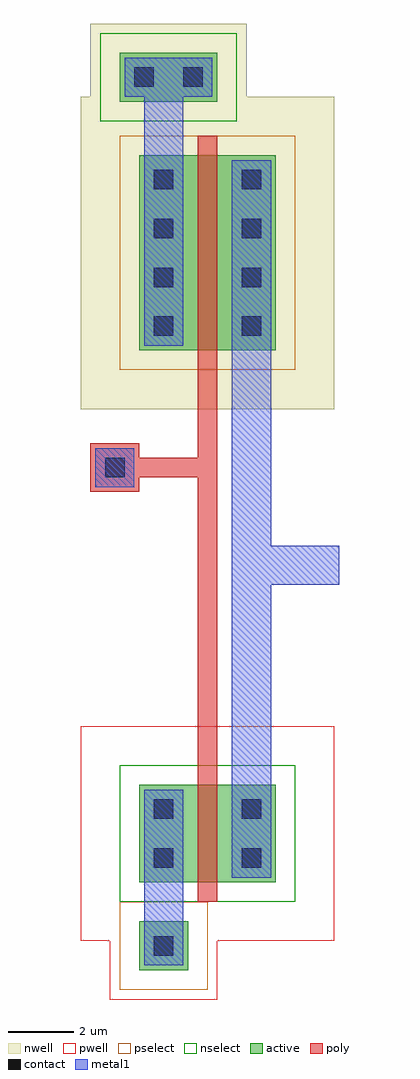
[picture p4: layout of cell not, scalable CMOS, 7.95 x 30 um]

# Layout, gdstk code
import gdstk
lib = gdstk.Library(unit=1e-6, precision=1e-09)
def R(c, l, rs):  # rectangles x0, y0, x1, y1
    for r in rs: c.add(gdstk.rectangle(r[:2], r[2:], *l))
def A(c, l, x, y, w, h, nx, ny, dx, dy):  # array of equal rectangles
    R(c, l, [(x+i*dx, y+j*dy, x+i*dx+w, y+j*dy+h) for i in range(nx) for j in range(ny)])
contact = (25, 0)
pwell = (41, 0)
nwell = (42, 0)
active = (43, 0)
pselect = (44, 0)
nselect = (45, 0)
poly = (46, 0)
metal1 = (49, 0)

not_ = lib.new_cell('not')
A(not_, contact, 1.35, 20.4, 0.6, 0.6, 1, 4, 0, 1.5)
A(not_, contact, 4.05, 20.4, 0.6, 0.6, 1, 4, 0, 1.5)
R(not_, contact, [(1.35,1.35,1.95,1.95), (1.35,4.05,1.95,4.65), (4.05,4.05,4.65,4.65), (1.35,5.55,1.95,6.15), (4.05,5.55,4.65,6.15), (-0.15,16.05,0.45,16.65), (0.75,28.05,1.35,28.65), (2.25,28.05,2.85,28.65)])
R(not_, pwell, [(0,0,3.3,3.3), (-0.9,1.8,4.2,8.4), (0,1.8,6,8.4), (1.8,1.8,6.9,8.4), (-0.6,2.85,4.125,7.35), (1.875,2.85,6.6,7.35)])
R(not_, nwell, [(-0.9,18.15,4.2,27.75), (0,18.15,6,27.75), (1.8,18.15,6.9,27.75), (-0.6,20.7,4.125,25.2), (1.875,20.7,6.6,25.2), (-0.6,26.7,4.2,30)])
R(not_, active, [(0.9,0.9,2.4,2.4), (0.9,3.6,2.4,6.6), (1.8,3.6,4.2,6.6), (3.6,3.6,5.1,6.6), (1.2,4.65,2.325,5.55), (3.675,4.65,4.8,5.55), (0.9,19.95,2.4,25.95), (1.8,19.95,4.2,25.95), (3.6,19.95,5.1,25.95), (1.2,22.5,2.325,23.4), (3.675,22.5,4.8,23.4), (0.3,27.6,3.3,29.1)])
R(not_, pselect, [(0.3,0.3,3,3), (0.3,19.35,3,26.55), (1.2,19.35,4.8,26.55), (3,19.35,5.7,26.55), (0.6,21.9,2.925,24), (3.075,21.9,5.4,24)])
R(not_, nselect, [(0.3,3,3,7.2), (1.2,3,4.8,7.2), (3,3,5.7,7.2), (0.6,4.05,2.925,6.15), (3.075,4.05,5.4,6.15), (-0.3,27,3.9,29.7)])
R(not_, poly, [(2.7,3,3.3,7.2), (2.7,6.9,3.3,7.5), (2.7,6.9,3.3,16.65), (-0.6,15.6,0.9,17.1), (-0.15,16.05,3.3,16.65), (2.7,16.05,3.3,19.65), (2.7,19.35,3.3,26.55)])
R(not_, metal1, [(1.05,1.05,2.25,2.25), (1.05,1.2,2.25,2.4), (1.05,1.2,2.25,5.7), (1.05,3.75,2.25,6.45), (3.75,3.75,4.95,6.45), (3.75,4.5,4.95,13.95), (3.75,12.75,4.95,23.55), (3.75,12.75,7.05,13.95), (-0.45,15.75,0.75,16.95), (1.05,20.1,2.25,25.8), (3.75,20.1,4.95,25.8), (1.05,22.35,2.25,28.8), (0.45,27.75,3.15,28.95)])

lib.write_gds('not.gds')
